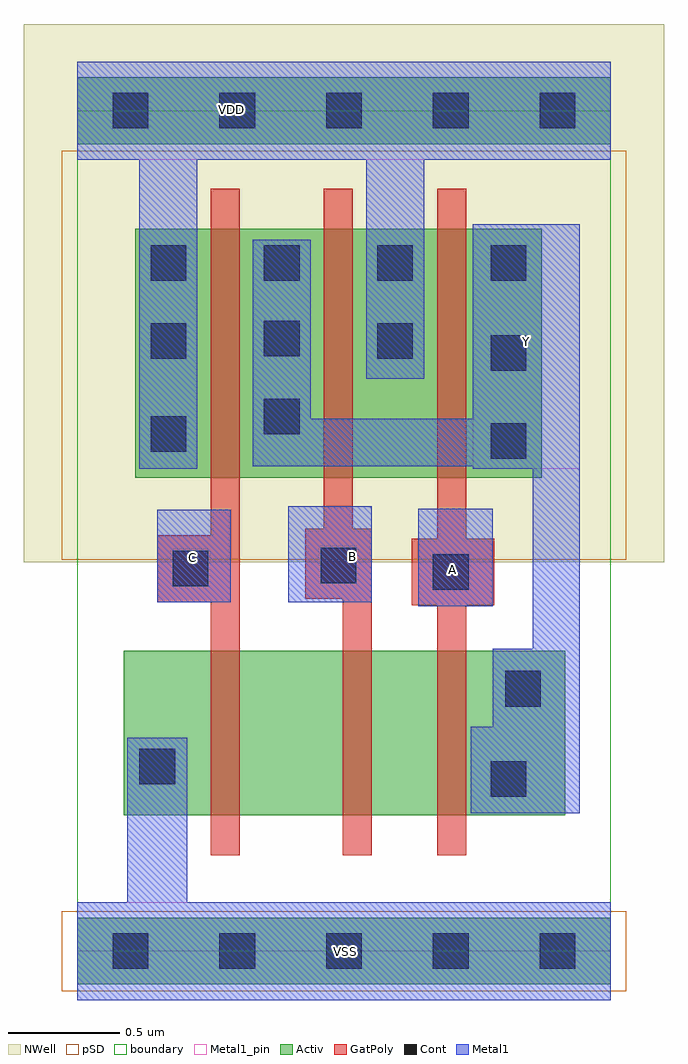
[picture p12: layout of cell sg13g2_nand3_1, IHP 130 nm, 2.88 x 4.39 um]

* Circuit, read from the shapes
.subckt sg13g2_nand3_1 A B C VDD VSS Y
XM1 n1 C VSS VSS sg13_lv_nmos w=0.74u l=0.13u
XM2 n2 B n1 VSS sg13_lv_nmos w=0.74u l=0.13u
XM3 Y A n2 VSS sg13_lv_nmos w=0.74u l=0.13u
XM4 Y C VDD VDD sg13_lv_pmos w=1.12u l=0.13u
XM5 VDD B Y VDD sg13_lv_pmos w=1.12u l=0.13u
XM6 Y A VDD VDD sg13_lv_pmos w=1.12u l=0.13u
.ends

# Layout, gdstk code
import gdstk
lib = gdstk.Library(unit=1e-6, precision=1e-09)
def R(c, l, rs):  # rectangles x0, y0, x1, y1
    for r in rs: c.add(gdstk.rectangle(r[:2], r[2:], *l))
def A(c, l, x, y, w, h, nx, ny, dx, dy):  # array of equal rectangles
    R(c, l, [(x+i*dx, y+j*dy, x+i*dx+w, y+j*dy+h) for i in range(nx) for j in range(ny)])
def P(c, l, *ps):  # polygons
    for p in ps: c.add(gdstk.Polygon(p, *l))
Activ = (1, 0)
GatPoly = (5, 0)
Cont = (6, 0)
Metal1 = (8, 0)
Metal1_pin = (8, 2)
pSD = (14, 0)
NWell = (31, 0)
boundary = (189, 4)

sg13g2_nand3_1 = lib.new_cell('sg13g2_nand3_1')
R(sg13g2_nand3_1, Activ, [(0,-0.15,2.4,0.15), (0.21,0.61,2.195,1.35), (0.26,2.13,2.09,3.25), (0,3.63,2.4,3.93)])
P(sg13g2_nand3_1, GatPoly, [(1.875,1.855),(1.75,1.855),(1.75,3.43),(1.62,3.43),(1.62,1.855),(1.505,1.855),(1.505,1.555),(1.62,1.555),(1.62,0.43),(1.75,0.43),(1.75,1.555),(1.875,1.555)],
  [(0.73,3.43),(0.6,3.43),(0.6,1.87),(0.36,1.87),(0.36,1.57),(0.6,1.57),(0.6,0.43),(0.73,0.43)],
  [(1.325,1.9),(1.24,1.9),(1.24,3.43),(1.11,3.43),(1.11,1.9),(1.025,1.9),(1.025,1.585),(1.195,1.585),(1.195,0.43),(1.325,0.43)])
A(sg13g2_nand3_1, Cont, 0.33, 3.015, 0.16, 0.16, 4, 1, 0.51, 0)
R(sg13g2_nand3_1, Cont, [(0.16,-0.08,0.32,0.08), (0.16,-0.08,0.32,0.08), (0.64,-0.08,0.8,0.08), (0.64,-0.08,0.8,0.08), (1.12,-0.08,1.28,0.08), (1.12,-0.08,1.28,0.08), (1.6,-0.08,1.76,0.08), (1.6,-0.08,1.76,0.08), (2.08,-0.08,2.24,0.08), (2.08,-0.08,2.24,0.08), (1.86,0.695,2.02,0.855), (0.28,0.75,0.44,0.91), (1.925,1.1,2.085,1.26), (1.6,1.625,1.76,1.785), (0.43,1.64,0.59,1.8), (1.095,1.655,1.255,1.815), (1.86,2.215,2.02,2.375), (0.33,2.245,0.49,2.405), (0.84,2.325,1,2.485), (1.86,2.61,2.02,2.77), (0.33,2.665,0.49,2.825), (1.35,2.665,1.51,2.825), (0.84,2.675,1,2.835), (0.16,3.7,0.32,3.86), (0.16,3.7,0.32,3.86), (0.64,3.7,0.8,3.86), (0.64,3.7,0.8,3.86), (1.12,3.7,1.28,3.86), (1.12,3.7,1.28,3.86), (1.6,3.7,1.76,3.86), (1.6,3.7,1.76,3.86), (2.08,3.7,2.24,3.86), (2.08,3.7,2.24,3.86)])
R(sg13g2_nand3_1, Metal1, [(1.535,1.55,1.87,1.99), (0.36,1.57,0.69,1.985), (0.95,1.57,1.325,2)])
P(sg13g2_nand3_1, Metal1, [(2.26,2.175),(2.05,2.175),(2.05,1.36),(1.87,1.36),(1.87,1.01),(1.77,1.01),(1.77,0.62),(2.26,0.62)],
  [(2.26,3.27),(1.78,3.27),(1.78,2.395),(1.05,2.395),(1.05,3.2),(0.79,3.2),(0.79,2.18),(1.78,2.18),(1.78,2.17),(2.26,2.17)],
  [(2.4,0.22),(0.495,0.22),(0.495,0.96),(0.225,0.96),(0.225,0.22),(0,0.22),(0,-0.22),(2.4,-0.22)],
  [(2.4,4),(0,4),(0,3.56),(0.28,3.56),(0.28,2.17),(0.54,2.17),(0.54,3.56),(1.3,3.56),(1.3,2.575),(1.56,2.575),(1.56,3.56),(2.4,3.56)])
R(sg13g2_nand3_1, Metal1_pin, [(0,-0.22,2.4,0.22), (1.535,1.55,1.87,1.99), (0.36,1.57,0.69,1.985), (0.95,1.57,1.325,2), (1.78,2.17,2.26,3.27), (0,3.56,2.4,4)])
R(sg13g2_nand3_1, pSD, [(-0.07,-0.18,2.47,0.18), (-0.07,1.76,2.47,3.6)])
R(sg13g2_nand3_1, NWell, [(-0.24,1.75,2.64,4.17)])
R(sg13g2_nand3_1, boundary, [(0,0,2.4,3.78)])
sg13g2_nand3_1.add(gdstk.Label('VDD', (0.695,3.785), layer=8, texttype=25))
sg13g2_nand3_1.add(gdstk.Label('Y', (2.02,2.74), layer=8, texttype=25))
sg13g2_nand3_1.add(gdstk.Label('B', (1.24,1.775), layer=8, texttype=25))
sg13g2_nand3_1.add(gdstk.Label('C', (0.52,1.77), layer=8, texttype=25))
sg13g2_nand3_1.add(gdstk.Label('VSS', (1.205,0), layer=8, texttype=25))
sg13g2_nand3_1.add(gdstk.Label('A', (1.69,1.715), layer=8, texttype=25))

lib.write_gds('sg13g2_nand3_1.gds')
